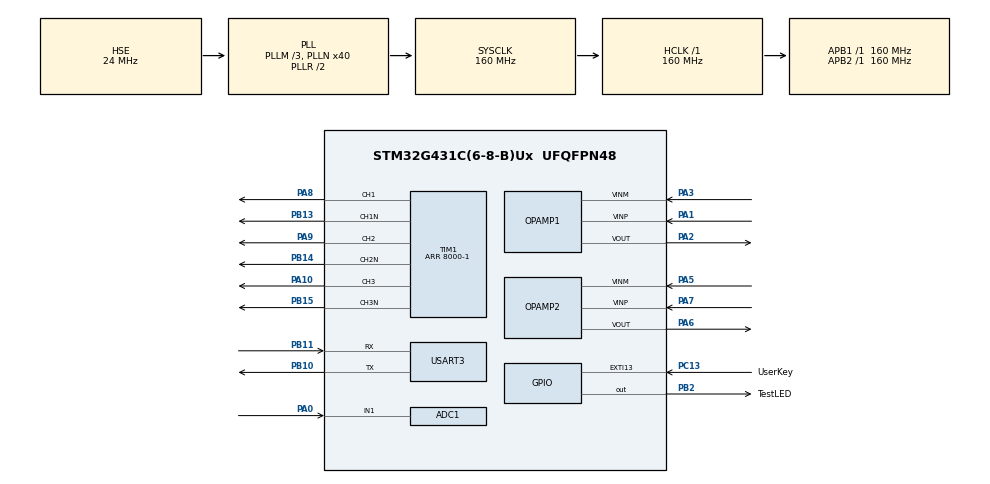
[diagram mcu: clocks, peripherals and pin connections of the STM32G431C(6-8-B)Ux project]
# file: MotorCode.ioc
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ADC1.Channel-0\#ChannelRegularConversion=ADC_CHANNEL_1
ADC1.EnableInjectedConversion=ENABLE
ADC1.ExternalTrigInjecConv=ADC_EXTERNALTRIGINJEC_T1_CC4
ADC1.InjNumberOfConversion=1
ADC1.InjectedChannel-1\#ChannelInjectedConversion=ADC_CHANNEL_3
ADC1.InjectedOffsetNumber-1\#ChannelInjectedConversion=ADC_OFFSET_NONE
ADC1.InjectedRank-1\#ChannelInjectedConversion=1
ADC1.InjectedSamplingTime-1\#ChannelInjectedConversion=ADC_SAMPLETIME_2CYCLES_5
ADC1.NbrOfConversion=1
ADC1.NbrOfConversionFlag=1
ADC1.OffsetNumber-0\#ChannelRegularConversion=ADC_OFFSET_NONE
ADC1.Rank-0\#ChannelRegularConversion=1
ADC1.Rank1_Channel=ADC_CHANNEL_3
ADC1.SamplingTime-0\#ChannelRegularConversion=ADC_SAMPLETIME_2CYCLES_5
ADC1.master=1
ADC2.Channel-0\#ChannelRegularConversion=ADC_CHANNEL_3
ADC2.EnableInjectedConversion=ENABLE
ADC2.ExternalTrigInjecConv=ADC_EXTERNALTRIGINJEC_T1_CC4
ADC2.InjNumberOfConversion=1
ADC2.InjectedChannel-1\#ChannelInjectedConversion=ADC_CHANNEL_3
ADC2.InjectedOffsetNumber-1\#ChannelInjectedConversion=ADC_OFFSET_NONE
ADC2.InjectedRank-1\#ChannelInjectedConversion=1
ADC2.InjectedSamplingTime-1\#ChannelInjectedConversion=ADC_SAMPLETIME_2CYCLES_5
ADC2.NbrOfConversionFlag=1
ADC2.OffsetNumber-0\#ChannelRegularConversion=ADC_OFFSET_NONE
ADC2.Rank-0\#ChannelRegularConversion=1
ADC2.Rank1_Channel=ADC_CHANNEL_3
ADC2.SamplingTime-0\#ChannelRegularConversion=ADC_SAMPLETIME_2CYCLES_5
Dma.Request0=USART3_TX
Dma.USART3_TX.0.Direction=DMA_MEMORY_TO_PERIPH
Dma.USART3_TX.0.EventEnable=DISABLE
Dma.USART3_TX.0.Instance=DMA1_Channel1
Dma.USART3_TX.0.MemDataAlignment=DMA_MDATAALIGN_BYTE
Dma.USART3_TX.0.MemInc=DMA_MINC_ENABLE
Dma.USART3_TX.0.Mode=DMA_NORMAL
Dma.USART3_TX.0.PeriphDataAlignment=DMA_PDATAALIGN_BYTE
Dma.USART3_TX.0.PeriphInc=DMA_PINC_DISABLE
Dma.USART3_TX.0.Polarity=HAL_DMAMUX_REQ_GEN_RISING
Dma.USART3_TX.0.Priority=DMA_PRIORITY_LOW
Dma.USART3_TX.0.RequestNumber=1
Dma.USART3_TX.0.SignalID=NONE
Dma.USART3_TX.0.SyncEnable=DISABLE
Dma.USART3_TX.0.SyncPolarity=HAL_DMAMUX_SYNC_NO_EVENT
Dma.USART3_TX.0.SyncRequestNumber=1
Dma.USART3_TX.0.SyncSignalID=NONE
Mcu.Family=STM32G4
Mcu.Name=STM32G431C(6-8-B)Ux
Mcu.Package=UFQFPN48
NVIC.ADC1_2_IRQn=true\:0\:0\:false\:false\:true\:true\:true\:true
NVIC.DMA1_Channel1_IRQn=true\:0\:0\:false\:false\:true\:false\:true\:true
NVIC.EXTI15_10_IRQn=true\:0\:0\:false\:false\:true\:true\:true\:true
NVIC.PriorityGroup=NVIC_PRIORITYGROUP_4
NVIC.TIM1_BRK_TIM15_IRQn=true\:0\:0\:false\:false\:true\:true\:true\:true
NVIC.TIM1_CC_IRQn=true\:0\:0\:false\:false\:true\:true\:true\:true
NVIC.TIM1_UP_TIM16_IRQn=true\:0\:0\:false\:false\:true\:true\:true\:true
NVIC.USART3_IRQn=true\:0\:0\:false\:false\:true\:true\:true\:true
PA0.Mode=IN1-Single-Ended
PA0.Signal=ADC1_IN1
PA1.Mode=Standalone
PA1.Signal=OPAMP1_VINP
PA10.Signal=S_TIM1_CH3
PA2.Signal=SharedAnalog_PA2
PA3.Mode=Standalone
PA3.Signal=OPAMP1_VINM
PA5.Mode=Standalone
PA5.Signal=OPAMP2_VINM
PA6.Signal=SharedAnalog_PA6
PA7.Mode=Standalone
PA7.Signal=OPAMP2_VINP
PA8.Signal=S_TIM1_CH1
PA9.Signal=S_TIM1_CH2
PB10.Mode=Asynchronous
PB10.Signal=USART3_TX
PB11.Mode=Asynchronous
PB11.Signal=USART3_RX
PB13.Mode=PWM Generation1 CH1 CH1N
PB13.Signal=TIM1_CH1N
PB14.Mode=PWM Generation2 CH2 CH2N
PB14.Signal=TIM1_CH2N
PB15.Mode=PWM Generation3 CH3 CH3N
PB15.Signal=TIM1_CH3N
PB2.GPIO_Label=TestLED
PB2.Signal=GPIO_Output
PC13.GPIO_Label=UserKey
PC13.Signal=GPXTI13
PF0-OSC_IN.Mode=HSE-External-Oscillator
PF0-OSC_IN.Signal=RCC_OSC_IN
PF1-OSC_OUT.Mode=HSE-External-Oscillator
PF1-OSC_OUT.Signal=RCC_OSC_OUT
ProjectManager.HeapSize=0x200
ProjectManager.StackSize=0x400
ProjectManager.TargetToolchain=MDK-ARM V5.27
RCC.ADC12Freq_Value=160000000
RCC.AHBFreq_Value=160000000
RCC.APB1Freq_Value=160000000
RCC.APB1TimFreq_Value=160000000
RCC.APB2Freq_Value=160000000
RCC.APB2TimFreq_Value=160000000
RCC.CortexFreq_Value=160000000
RCC.EXTERNAL_CLOCK_VALUE=12288000
RCC.HCLKFreq_Value=160000000
RCC.HSE_VALUE=24000000
RCC.HSI48_VALUE=48000000
RCC.HSI_VALUE=16000000
RCC.LSE_VALUE=32768
RCC.PLLM=RCC_PLLM_DIV3
RCC.PLLN=40
RCC.PLLSourceVirtual=RCC_PLLSOURCE_HSE
RCC.SYSCLKFreq_VALUE=160000000
RCC.SYSCLKSource=RCC_SYSCLKSOURCE_PLLCLK
RCC.USBFreq_Value=160000000
RCC.VCOOutputFreq_Value=320000000
SH.S_TIM1_CH1.0=TIM1_CH1,PWM Generation1 CH1 CH1N
SH.S_TIM1_CH2.0=TIM1_CH2,PWM Generation2 CH2 CH2N
SH.S_TIM1_CH3.0=TIM1_CH3,PWM Generation3 CH3 CH3N
SH.SharedAnalog_PA2.0=OPAMP1_VOUT,Standalone
SH.SharedAnalog_PA2.1=ADC1_IN3,IN3-Single-Ended
SH.SharedAnalog_PA6.0=OPAMP2_VOUT,Standalone
SH.SharedAnalog_PA6.1=ADC2_IN3,IN3-Single-Ended
TIM1.Channel-PWM\ Generation1\ CH1\ CH1N=TIM_CHANNEL_1
TIM1.Channel-PWM\ Generation2\ CH2\ CH2N=TIM_CHANNEL_2
TIM1.Channel-PWM\ Generation3\ CH3\ CH3N=TIM_CHANNEL_3
TIM1.Channel-PWM\ Generation4\ No\ Output=TIM_CHANNEL_4
TIM1.ClockDivision=TIM_CLOCKDIVISION_DIV2
TIM1.CounterMode=TIM_COUNTERMODE_CENTERALIGNED1
TIM1.DeadTime=120
TIM1.OCMode_PWM-PWM\ Generation4\ No\ Output=TIM_OCMODE_PWM2
TIM1.PeriodNoDither=8000-1
TIM1.PulseNoDither_4=8000-2
TIM1.RepetitionCounter=1
TIM1.TIM_MasterOutputTrigger=TIM_TRGO_OC4REF
USART3.VirtualMode-Asynchronous=VM_ASYNC
VP_SYS_VS_DBSignals.Mode=DisableDeadBatterySignals
VP_TIM1_VS_no_output4.Mode=PWM Generation4 No Output
board=custom

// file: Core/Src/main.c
/* USER CODE BEGIN Header */
/**
  ******************************************************************************
  * @file           : main.c
  * @brief          : Main program body
  ******************************************************************************
  * @attention
  *
  * <h2><center>&copy; Copyright (c) 2023 STMicroelectronics.
  * All rights reserved.</center></h2>
  *
  * This software component is licensed by ST under BSD 3-Clause license,
  * the "License"; You may not use this file except in compliance with the
  * License. You may obtain a copy of the License at:
  *                        opensource.org/licenses/BSD-3-Clause
  *
  ******************************************************************************
  */
/* USER CODE END Header */
#include "main.h"
#include "adc.h"
#include "dma.h"
#include "opamp.h"
#include "tim.h"
#include "usart.h"
#include "gpio.h"

/* USER CODE BEGIN Includes */
#include "stdio.h"
#include "string.h"
/* USER CODE END Includes */

/* USER CODE BEGIN PTD */
uint8_t DataB[32]="Hellow World!";
float temp[7];
static  uint8_t tempData[32] = {0,0,0,0,
																0,0,0,0,
																0,0,0,0,
																0,0,0,0,
																0,0,0,0,
																0,0,0,0,
																0,0,0,0,
                                0,0,0x80,0x7f};
/* USER CODE END PTD */

void SystemClock_Config(void);

int main(void)
{

  /* MCU Configuration--------------------------------------------------------*/

  /* Reset of all peripherals, Initializes the Flash interface and the Systick. */
  HAL_Init();

  /* Configure the system clock */
  SystemClock_Config();

  /* Initialize all configured peripherals */
  MX_GPIO_Init();
  MX_DMA_Init();
  MX_USART3_UART_Init();
  MX_ADC1_Init();
  MX_ADC2_Init();
  MX_OPAMP1_Init();
  MX_OPAMP2_Init();
  MX_TIM1_Init();
  /* USER CODE BEGIN 2 */
HAL_ADCEx_Calibration_Start(&hadc1,ADC_SINGLE_ENDED); //ADC1��У׼
HAL_ADCEx_Calibration_Start(&hadc2,ADC_SINGLE_ENDED); //ADC1��У׼
HAL_OPAMP_Start(&hopamp1);
HAL_OPAMP_Start(&hopamp2);
TIM1->CCR1 = 2000;
TIM1->CCR2 = 3000;
TIM1->CCR3 = 4000;
HAL_TIM_Base_Start(&htim1);
HAL_TIM_PWM_Start(&htim1,TIM_CHANNEL_1);
HAL_TIM_PWM_Start(&htim1,TIM_CHANNEL_2);
HAL_TIM_PWM_Start(&htim1,TIM_CHANNEL_3);
HAL_TIM_PWM_Start(&htim1,TIM_CHANNEL_4);
HAL_TIMEx_PWMN_Start(&htim1,TIM_CHANNEL_1);
HAL_TIMEx_PWMN_Start(&htim1,TIM_CHANNEL_2);
HAL_TIMEx_PWMN_Start(&htim1,TIM_CHANNEL_3);

		HAL_ADCEx_InjectedStart_IT(&hadc1);
		HAL_ADCEx_InjectedStart_IT(&hadc2);
  /* USER CODE END 2 */

  /* Infinite loop */
  while (1)
  {

    /* USER CODE BEGIN 3 */
//		temp[0]+=0.01f;
//		if(temp[0]>6.82f)
//		{
//			temp[0] = 0;
//		}
		HAL_ADC_Start(&hadc1);
//		HAL_ADC_Start(&hadc2);
//		HAL_ADCEx_InjectedStart_IT(&hadc1);
//		HAL_ADCEx_InjectedStart_IT(&hadc2);

		temp[0] = HAL_ADC_GetValue(&hadc1)*0.0209f;  //ֱ��ĸ�ߵ�ѹ
		memcpy(tempData,(uint8_t *)temp,sizeof(temp));
		if(GPIOA->IDR & GPIO_PIN_10)
		{
			temp[4] = 1.0f;
		}
		else
		{

		  temp[4] = 0.0f;

		}
		if(GPIOB->IDR & GPIO_PIN_15)
		{
			temp[5] = 1.0f;
		}
		else
		{

		  temp[5] = 0.0f;

		}
		if(GPIOA->IDR & GPIO_PIN_8)
		{
			temp[6] = 1.0f;
		}
		else
		{

		  temp[6] = 0.0f;

		}
		HAL_UART_Transmit_DMA(&huart3,tempData,sizeof(tempData));
		HAL_Delay(1);

  }
  /* USER CODE END 3 */
}

void SystemClock_Config(void)
{
  RCC_OscInitTypeDef RCC_OscInitStruct = {0};
  RCC_ClkInitTypeDef RCC_ClkInitStruct = {0};

  /** Configure the main internal regulator output voltage
  */
  HAL_PWREx_ControlVoltageScaling(PWR_REGULATOR_VOLTAGE_SCALE1_BOOST);

  /** Initializes the RCC Oscillators according to the specified parameters
  * in the RCC_OscInitTypeDef structure.
  */
  RCC_OscInitStruct.OscillatorType = RCC_OSCILLATORTYPE_HSE;
  RCC_OscInitStruct.HSEState = RCC_HSE_ON;
  RCC_OscInitStruct.PLL.PLLState = RCC_PLL_ON;
  RCC_OscInitStruct.PLL.PLLSource = RCC_PLLSOURCE_HSE;
  RCC_OscInitStruct.PLL.PLLM = RCC_PLLM_DIV3;
  RCC_OscInitStruct.PLL.PLLN = 40;
  RCC_OscInitStruct.PLL.PLLP = RCC_PLLP_DIV2;
  RCC_OscInitStruct.PLL.PLLQ = RCC_PLLQ_DIV2;
  RCC_OscInitStruct.PLL.PLLR = RCC_PLLR_DIV2;
  if (HAL_RCC_OscConfig(&RCC_OscInitStruct) != HAL_OK)
  {
    Error_Handler();
  }

  /** Initializes the CPU, AHB and APB buses clocks
  */
  RCC_ClkInitStruct.ClockType = RCC_CLOCKTYPE_HCLK|RCC_CLOCKTYPE_SYSCLK
                              |RCC_CLOCKTYPE_PCLK1|RCC_CLOCKTYPE_PCLK2;
  RCC_ClkInitStruct.SYSCLKSource = RCC_SYSCLKSOURCE_PLLCLK;
  RCC_ClkInitStruct.AHBCLKDivider = RCC_SYSCLK_DIV1;
  RCC_ClkInitStruct.APB1CLKDivider = RCC_HCLK_DIV1;
  RCC_ClkInitStruct.APB2CLKDivider = RCC_HCLK_DIV1;

  if (HAL_RCC_ClockConfig(&RCC_ClkInitStruct, FLASH_LATENCY_4) != HAL_OK)
  {
    Error_Handler();
  }
}

/* USER CODE BEGIN 4 */
void HAL_GPIO_EXTI_Callback(uint16_t GPIO_Pin)
{
	 HAL_GPIO_TogglePin(TestLED_GPIO_Port, TestLED_Pin);
//	printf("LED Toggle \r\n");
	while((HAL_DMA_GetState(&hdma_usart3_tx)!= HAL_DMA_STATE_READY));
	HAL_UART_Transmit_DMA(&huart3,DataB,sizeof(DataB));
}
 int fputc(int ch,FILE *f)
 {
	while((USART3->ISR &0x40)==0);
	 USART3->TDR =(uint8_t)ch;
	 return ch;

 }

void   HAL_ADCEx_InjectedConvCpltCallback(ADC_HandleTypeDef *hadc)
{
UNUSED(hadc);
if(hadc == &hadc1)
{
	temp[1] = hadc1.Instance->JDR1;
	temp[1] = (temp[1] - 0x7ef)*0.019335937f;

}
if(hadc == &hadc2)
{
	temp[2] = hadc2.Instance->JDR1;
	temp[2] = (temp[2] - 0x7ef)*0.019335937f;

}

  temp[3] =-(temp[1] + temp[2]);
}

/* USER CODE END 4 */

void Error_Handler(void)
{
  __disable_irq();
  while (1)
  {
  }
}
